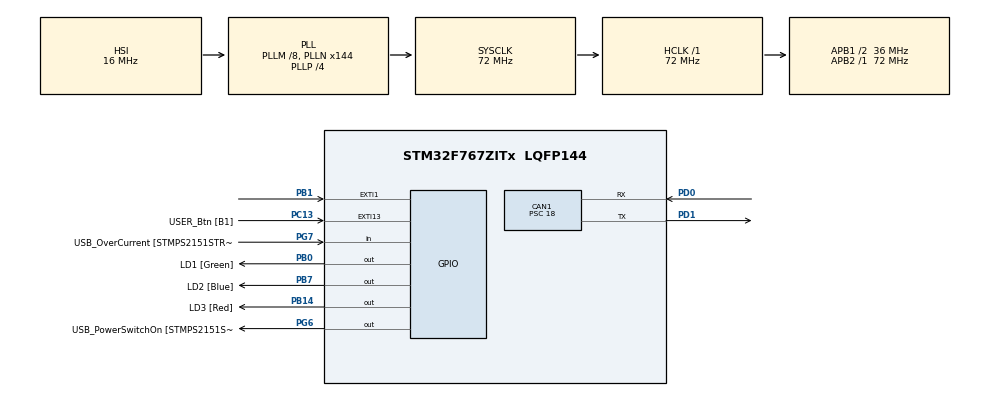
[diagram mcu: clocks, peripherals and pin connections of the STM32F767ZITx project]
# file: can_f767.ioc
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CAN1.BS1=CAN_BS1_2TQ
CAN1.CalculateBaudRate=500000
CAN1.CalculateTimeBit=2000
CAN1.CalculateTimeQuantum=500.0
CAN1.Mode=CAN_MODE_NORMAL
CAN1.Prescaler=18
Mcu.Family=STM32F7
Mcu.Name=STM32F767ZITx
Mcu.Package=LQFP144
NVIC.CAN1_RX0_IRQn=true\:0\:0\:false\:false\:true\:true\:true\:true
NVIC.EXTI15_10_IRQn=true\:0\:0\:false\:false\:true\:true\:true\:true
NVIC.PriorityGroup=NVIC_PRIORITYGROUP_4
PA1.GPIO_Label=RMII_REF_CLK [LAN8742A-CZ-TR_REFCLK0]
PA1.Signal=ETH_REF_CLK
PA10.GPIO_Label=USB_ID
PA10.Signal=USB_OTG_FS_ID
PA11.GPIO_Label=USB_DM
PA11.Signal=USB_OTG_FS_DM
PA12.GPIO_Label=USB_DP
PA12.Signal=USB_OTG_FS_DP
PA13.GPIO_Label=TMS
PA13.Signal=SYS_JTMS-SWDIO
PA14.GPIO_Label=TCK
PA14.Signal=SYS_JTCK-SWCLK
PA2.GPIO_Label=RMII_MDIO [LAN8742A-CZ-TR_MDIO]
PA2.Signal=ETH_MDIO
PA7.GPIO_Label=RMII_CRS_DV [LAN8742A-CZ-TR_CRS_DV]
PA7.Signal=ETH_CRS_DV
PA9.GPIO_Label=USB_VBUS
PA9.Signal=USB_OTG_FS_VBUS
PB0.GPIO_Label=LD1 [Green]
PB0.Signal=GPIO_Output
PB1.Signal=GPXTI1
PB13.GPIO_Label=RMII_TXD1 [LAN8742A-CZ-TR_TXD1]
PB13.Signal=ETH_TXD1
PB14.GPIO_Label=LD3 [Red]
PB14.Signal=GPIO_Output
PB3.GPIO_Label=SW0
PB3.Signal=SYS_JTDO-SWO
PB7.GPIO_Label=LD2 [Blue]
PB7.Signal=GPIO_Output
PC1.GPIO_Label=RMII_MDC [LAN8742A-CZ-TR_MDC]
PC1.Signal=ETH_MDC
PC13.GPIO_Label=USER_Btn [B1]
PC13.Signal=GPXTI13
PC14/OSC32_IN.Signal=RCC_OSC32_IN
PC15/OSC32_OUT.Signal=RCC_OSC32_OUT
PC4.GPIO_Label=RMII_RXD0 [LAN8742A-CZ-TR_RXD0]
PC4.Signal=ETH_RXD0
PC5.GPIO_Label=RMII_RXD1 [LAN8742A-CZ-TR_RXD1]
PC5.Signal=ETH_RXD1
PD0.Mode=CAN_Activate
PD0.Signal=CAN1_RX
PD1.Mode=CAN_Activate
PD1.Signal=CAN1_TX
PD8.GPIO_Label=STLK_RX [STM32F103CBT6_PA3]
PD8.Signal=USART3_TX
PD9.GPIO_Label=STLK_TX [STM32F103CBT6_PA2]
PD9.Signal=USART3_RX
PG11.GPIO_Label=RMII_TX_EN [LAN8742A-CZ-TR_TXEN]
PG11.Signal=ETH_TX_EN
PG13.GPIO_Label=RMII_TXD0 [LAN8742A-CZ-TR_TXD0]
PG13.Signal=ETH_TXD0
PG6.GPIO_Label=USB_PowerSwitchOn [STMPS2151STR_EN]
PG6.Signal=GPIO_Output
PG7.GPIO_Label=USB_OverCurrent [STMPS2151STR_FAULT]
PG7.Signal=GPIO_Input
PH0/OSC_IN.GPIO_Label=MCO [STM32F103CBT6_PA8]
PH0/OSC_IN.Mode=HSE-External-Oscillator
PH0/OSC_IN.Signal=RCC_OSC_IN
PH1/OSC_OUT.Mode=HSE-External-Oscillator
PH1/OSC_OUT.Signal=RCC_OSC_OUT
ProjectManager.HeapSize=0x200
ProjectManager.StackSize=0x400
ProjectManager.TargetToolchain=STM32CubeIDE
RCC.48MHZClocksFreq_Value=24000000
RCC.AHBFreq_Value=72000000
RCC.APB1CLKDivider=RCC_HCLK_DIV2
RCC.APB1Freq_Value=36000000
RCC.APB1TimFreq_Value=72000000
RCC.APB2Freq_Value=72000000
RCC.APB2TimFreq_Value=72000000
RCC.CortexFreq_Value=72000000
RCC.HCLKFreq_Value=72000000
RCC.HSE_VALUE=16000000
RCC.HSI_VALUE=16000000
RCC.LSE_VALUE=32768
RCC.PLLM=8
RCC.PLLMUL=RCC_PLL_MUL9
RCC.PLLN=144
RCC.PLLP=RCC_PLLP_DIV4
RCC.PRESCALERUSB=RCC_USBCLKSOURCE_PLL_DIV1_5
RCC.SYSCLKFreq_VALUE=72000000
RCC.SYSCLKSource=RCC_SYSCLKSOURCE_PLLCLK
RCC.SYSCLKSourceVirtual=RCC_SYSCLKSOURCE_PLLCLK
RCC.USBFreq_Value=144000000
RCC.VCOOutputFreq_Value=288000000
board=NUCLEO-F767ZI

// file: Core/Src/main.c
/* USER CODE BEGIN Header */
/**
  ******************************************************************************
  * @file           : main.c
  * @brief          : Main program body
  ******************************************************************************
  * @attention
  *
  * Copyright (c) 2023 STMicroelectronics.
  * All rights reserved.
  *
  * This software is licensed under terms that can be found in the LICENSE file
  * in the root directory of this software component.
  * If no LICENSE file comes with this software, it is provided AS-IS.
  *
  ******************************************************************************
  */
/* USER CODE END Header */
#include "main.h"

CAN_HandleTypeDef hcan1;

void SystemClock_Config(void);
static void MX_GPIO_Init(void);
static void MX_CAN1_Init(void);

/* USER CODE BEGIN 0 */
CAN_TxHeaderTypeDef TxHeader;
CAN_RxHeaderTypeDef RxHeader;

uint8_t TxData[8];
uint8_t RxData[8];

uint32_t TxMailbox;

int reply_received = 0;

//This callback is for a button press to activate a send for debugging
void HAL_GPIO_EXTI_Callback(uint16_t GPIO_Pin) {

	if (GPIO_Pin == GPIO_PIN_13){
		HAL_GPIO_TogglePin(GPIOB, GPIO_PIN_14);
		HAL_CAN_AddTxMessage(&hcan1, &TxHeader, TxData, &TxMailbox);

	}
}

void HAL_CAN_RxFifo0MsgPendingCallback(CAN_HandleTypeDef *hcan)
{
	HAL_CAN_GetRxMessage(hcan, CAN_RX_FIFO0, &RxHeader, RxData);
	if (RxHeader.DLC == 2)
	{
		reply_received = 1;
		HAL_GPIO_TogglePin(GPIOB, GPIO_PIN_0);

	}
}
/* USER CODE END 0 */

int main(void)
{

  /* MCU Configuration--------------------------------------------------------*/

  /* Reset of all peripherals, Initializes the Flash interface and the Systick. */
  HAL_Init();

  /* Configure the system clock */
  SystemClock_Config();

  /* Initialize all configured peripherals */
  MX_GPIO_Init();
  MX_CAN1_Init();
  /* USER CODE BEGIN 2 */

  HAL_CAN_Start(&hcan1);
  HAL_CAN_ActivateNotification(&hcan1, CAN_IT_RX_FIFO0_MSG_PENDING);

  TxHeader.DLC = 2;  // data length
  TxHeader.IDE = CAN_ID_STD; //Use standard ID, not extended
  TxHeader.RTR = CAN_RTR_DATA;
  TxHeader.StdId = 0x123;  // ID

  TxData[0] = 100;
  TxData[1] = 3;

  /* USER CODE END 2 */

  /* Infinite loop */
  /* USER CODE BEGIN WHILE */
  while (1)
  {

	//Flip between transmitting as 123 and 432

	if(TxHeader.StdId == 0x123){
		TxHeader.StdId = 0x321;
	} else {
		TxHeader.StdId = 0x123;
	}

    HAL_Delay(2000);
	HAL_GPIO_WritePin(GPIOB, GPIO_PIN_14, GPIO_PIN_SET);
	HAL_CAN_AddTxMessage(&hcan1, &TxHeader, TxData, &TxMailbox);
	HAL_Delay(50);
	HAL_GPIO_WritePin(GPIOB, GPIO_PIN_14, GPIO_PIN_RESET);

    /* USER CODE END WHILE */

  }
}

void SystemClock_Config(void)
{
  RCC_OscInitTypeDef RCC_OscInitStruct = {0};
  RCC_ClkInitTypeDef RCC_ClkInitStruct = {0};

  /** Configure the main internal regulator output voltage
  */
  __HAL_RCC_PWR_CLK_ENABLE();
  __HAL_PWR_VOLTAGESCALING_CONFIG(PWR_REGULATOR_VOLTAGE_SCALE3);

  /** Initializes the RCC Oscillators according to the specified parameters
  * in the RCC_OscInitTypeDef structure.
  */
  RCC_OscInitStruct.OscillatorType = RCC_OSCILLATORTYPE_HSI;
  RCC_OscInitStruct.HSIState = RCC_HSI_ON;
  RCC_OscInitStruct.HSICalibrationValue = RCC_HSICALIBRATION_DEFAULT;
  RCC_OscInitStruct.PLL.PLLState = RCC_PLL_ON;
  RCC_OscInitStruct.PLL.PLLSource = RCC_PLLSOURCE_HSI;
  RCC_OscInitStruct.PLL.PLLM = 8;
  RCC_OscInitStruct.PLL.PLLN = 144;
  RCC_OscInitStruct.PLL.PLLP = RCC_PLLP_DIV4;
  RCC_OscInitStruct.PLL.PLLQ = 2;
  RCC_OscInitStruct.PLL.PLLR = 2;
  if (HAL_RCC_OscConfig(&RCC_OscInitStruct) != HAL_OK)
  {
    Error_Handler();
  }

  /** Initializes the CPU, AHB and APB buses clocks
  */
  RCC_ClkInitStruct.ClockType = RCC_CLOCKTYPE_HCLK|RCC_CLOCKTYPE_SYSCLK
                              |RCC_CLOCKTYPE_PCLK1|RCC_CLOCKTYPE_PCLK2;
  RCC_ClkInitStruct.SYSCLKSource = RCC_SYSCLKSOURCE_PLLCLK;
  RCC_ClkInitStruct.AHBCLKDivider = RCC_SYSCLK_DIV1;
  RCC_ClkInitStruct.APB1CLKDivider = RCC_HCLK_DIV2;
  RCC_ClkInitStruct.APB2CLKDivider = RCC_HCLK_DIV1;

  if (HAL_RCC_ClockConfig(&RCC_ClkInitStruct, FLASH_LATENCY_2) != HAL_OK)
  {
    Error_Handler();
  }
}

static void MX_CAN1_Init(void)
{

  hcan1.Instance = CAN1;
  hcan1.Init.Prescaler = 18;
  hcan1.Init.Mode = CAN_MODE_NORMAL;
  hcan1.Init.SyncJumpWidth = CAN_SJW_1TQ;
  hcan1.Init.TimeSeg1 = CAN_BS1_2TQ;
  hcan1.Init.TimeSeg2 = CAN_BS2_1TQ;
  hcan1.Init.TimeTriggeredMode = DISABLE;
  hcan1.Init.AutoBusOff = DISABLE;
  hcan1.Init.AutoWakeUp = DISABLE;
  hcan1.Init.AutoRetransmission = DISABLE;
  hcan1.Init.ReceiveFifoLocked = DISABLE;
  hcan1.Init.TransmitFifoPriority = DISABLE;
  if (HAL_CAN_Init(&hcan1) != HAL_OK)
  {
    Error_Handler();
  }
  /* USER CODE BEGIN CAN1_Init 2 */

  //First can filter is for the bluepill board
  CAN_FilterTypeDef canfilterconfig1;
  canfilterconfig1.FilterActivation = CAN_FILTER_ENABLE;
  canfilterconfig1.FilterBank = 18;  // Use filter bank 18 of the 20 allocated
  canfilterconfig1.FilterFIFOAssignment = CAN_FILTER_FIFO0;
  canfilterconfig1.FilterIdHigh = 0x103<<5;
  canfilterconfig1.FilterIdLow = 0;
  canfilterconfig1.FilterMaskIdHigh = 0x103<<5;
  canfilterconfig1.FilterMaskIdLow = 0x0000;
  canfilterconfig1.FilterMode = CAN_FILTERMODE_IDMASK;
  canfilterconfig1.FilterScale = CAN_FILTERSCALE_32BIT;
  canfilterconfig1.SlaveStartFilterBank = 20;  // Allocate first 20 filter banks for CAN0
  HAL_CAN_ConfigFilter(&hcan1, &canfilterconfig1);

  //Second can filter is for the KW45 board
  CAN_FilterTypeDef canfilterconfig2;
  canfilterconfig2.FilterActivation = CAN_FILTER_ENABLE;
  canfilterconfig2.FilterBank = 19;  // Use filter bank 19 of the 20 allocated
  canfilterconfig2.FilterFIFOAssignment = CAN_FILTER_FIFO0;
  canfilterconfig2.FilterIdHigh = 0x45<<5;
  canfilterconfig2.FilterIdLow = 0;
  canfilterconfig2.FilterMaskIdHigh = 0x45<<5;
  canfilterconfig2.FilterMaskIdLow = 0x0000;
  canfilterconfig2.FilterMode = CAN_FILTERMODE_IDMASK;
  canfilterconfig2.FilterScale = CAN_FILTERSCALE_32BIT;
  canfilterconfig2.SlaveStartFilterBank = 20;  // Allocate first 20 filter banks for CAN0
  HAL_CAN_ConfigFilter(&hcan1, &canfilterconfig2);

  /* USER CODE END CAN1_Init 2 */

}

static void MX_GPIO_Init(void)
{
  GPIO_InitTypeDef GPIO_InitStruct = {0};

  /* GPIO Ports Clock Enable */
  __HAL_RCC_GPIOC_CLK_ENABLE();
  __HAL_RCC_GPIOH_CLK_ENABLE();
  __HAL_RCC_GPIOA_CLK_ENABLE();
  __HAL_RCC_GPIOB_CLK_ENABLE();
  __HAL_RCC_GPIOD_CLK_ENABLE();
  __HAL_RCC_GPIOG_CLK_ENABLE();

  /*Configure GPIO pin Output Level */
  HAL_GPIO_WritePin(GPIOB, LD1_Pin|LD3_Pin|LD2_Pin, GPIO_PIN_RESET);

  /*Configure GPIO pin Output Level */
  HAL_GPIO_WritePin(USB_PowerSwitchOn_GPIO_Port, USB_PowerSwitchOn_Pin, GPIO_PIN_RESET);

  /*Configure GPIO pin : USER_Btn_Pin */
  GPIO_InitStruct.Pin = USER_Btn_Pin;
  GPIO_InitStruct.Mode = GPIO_MODE_IT_RISING;
  GPIO_InitStruct.Pull = GPIO_NOPULL;
  HAL_GPIO_Init(USER_Btn_GPIO_Port, &GPIO_InitStruct);

  /*Configure GPIO pins : RMII_MDC_Pin RMII_RXD0_Pin RMII_RXD1_Pin */
  GPIO_InitStruct.Pin = RMII_MDC_Pin|RMII_RXD0_Pin|RMII_RXD1_Pin;
  GPIO_InitStruct.Mode = GPIO_MODE_AF_PP;
  GPIO_InitStruct.Pull = GPIO_NOPULL;
  GPIO_InitStruct.Speed = GPIO_SPEED_FREQ_VERY_HIGH;
  GPIO_InitStruct.Alternate = GPIO_AF11_ETH;
  HAL_GPIO_Init(GPIOC, &GPIO_InitStruct);

  /*Configure GPIO pins : RMII_REF_CLK_Pin RMII_MDIO_Pin RMII_CRS_DV_Pin */
  GPIO_InitStruct.Pin = RMII_REF_CLK_Pin|RMII_MDIO_Pin|RMII_CRS_DV_Pin;
  GPIO_InitStruct.Mode = GPIO_MODE_AF_PP;
  GPIO_InitStruct.Pull = GPIO_NOPULL;
  GPIO_InitStruct.Speed = GPIO_SPEED_FREQ_VERY_HIGH;
  GPIO_InitStruct.Alternate = GPIO_AF11_ETH;
  HAL_GPIO_Init(GPIOA, &GPIO_InitStruct);

  /*Configure GPIO pins : LD1_Pin LD3_Pin LD2_Pin */
  GPIO_InitStruct.Pin = LD1_Pin|LD3_Pin|LD2_Pin;
  GPIO_InitStruct.Mode = GPIO_MODE_OUTPUT_PP;
  GPIO_InitStruct.Pull = GPIO_NOPULL;
  GPIO_InitStruct.Speed = GPIO_SPEED_FREQ_LOW;
  HAL_GPIO_Init(GPIOB, &GPIO_InitStruct);

  /*Configure GPIO pin : PB1 */
  GPIO_InitStruct.Pin = GPIO_PIN_1;
  GPIO_InitStruct.Mode = GPIO_MODE_IT_RISING;
  GPIO_InitStruct.Pull = GPIO_NOPULL;
  HAL_GPIO_Init(GPIOB, &GPIO_InitStruct);

  /*Configure GPIO pin : RMII_TXD1_Pin */
  GPIO_InitStruct.Pin = RMII_TXD1_Pin;
  GPIO_InitStruct.Mode = GPIO_MODE_AF_PP;
  GPIO_InitStruct.Pull = GPIO_NOPULL;
  GPIO_InitStruct.Speed = GPIO_SPEED_FREQ_VERY_HIGH;
  GPIO_InitStruct.Alternate = GPIO_AF11_ETH;
  HAL_GPIO_Init(RMII_TXD1_GPIO_Port, &GPIO_InitStruct);

  /*Configure GPIO pins : STLK_RX_Pin STLK_TX_Pin */
  GPIO_InitStruct.Pin = STLK_RX_Pin|STLK_TX_Pin;
  GPIO_InitStruct.Mode = GPIO_MODE_AF_PP;
  GPIO_InitStruct.Pull = GPIO_NOPULL;
  GPIO_InitStruct.Speed = GPIO_SPEED_FREQ_VERY_HIGH;
  GPIO_InitStruct.Alternate = GPIO_AF7_USART3;
  HAL_GPIO_Init(GPIOD, &GPIO_InitStruct);

  /*Configure GPIO pin : USB_PowerSwitchOn_Pin */
  GPIO_InitStruct.Pin = USB_PowerSwitchOn_Pin;
  GPIO_InitStruct.Mode = GPIO_MODE_OUTPUT_PP;
  GPIO_InitStruct.Pull = GPIO_NOPULL;
  GPIO_InitStruct.Speed = GPIO_SPEED_FREQ_LOW;
  HAL_GPIO_Init(USB_PowerSwitchOn_GPIO_Port, &GPIO_InitStruct);

  /*Configure GPIO pin : USB_OverCurrent_Pin */
  GPIO_InitStruct.Pin = USB_OverCurrent_Pin;
  GPIO_InitStruct.Mode = GPIO_MODE_INPUT;
  GPIO_InitStruct.Pull = GPIO_NOPULL;
  HAL_GPIO_Init(USB_OverCurrent_GPIO_Port, &GPIO_InitStruct);

  /*Configure GPIO pin : USB_VBUS_Pin */
  GPIO_InitStruct.Pin = USB_VBUS_Pin;
  GPIO_InitStruct.Mode = GPIO_MODE_INPUT;
  GPIO_InitStruct.Pull = GPIO_NOPULL;
  HAL_GPIO_Init(USB_VBUS_GPIO_Port, &GPIO_InitStruct);

  /*Configure GPIO pins : USB_ID_Pin USB_DM_Pin USB_DP_Pin */
  GPIO_InitStruct.Pin = USB_ID_Pin|USB_DM_Pin|USB_DP_Pin;
  GPIO_InitStruct.Mode = GPIO_MODE_AF_PP;
  GPIO_InitStruct.Pull = GPIO_NOPULL;
  GPIO_InitStruct.Speed = GPIO_SPEED_FREQ_VERY_HIGH;
  GPIO_InitStruct.Alternate = GPIO_AF10_OTG_FS;
  HAL_GPIO_Init(GPIOA, &GPIO_InitStruct);

  /*Configure GPIO pins : RMII_TX_EN_Pin RMII_TXD0_Pin */
  GPIO_InitStruct.Pin = RMII_TX_EN_Pin|RMII_TXD0_Pin;
  GPIO_InitStruct.Mode = GPIO_MODE_AF_PP;
  GPIO_InitStruct.Pull = GPIO_NOPULL;
  GPIO_InitStruct.Speed = GPIO_SPEED_FREQ_VERY_HIGH;
  GPIO_InitStruct.Alternate = GPIO_AF11_ETH;
  HAL_GPIO_Init(GPIOG, &GPIO_InitStruct);

  /* EXTI interrupt init*/
  HAL_NVIC_SetPriority(EXTI15_10_IRQn, 0, 0);
  HAL_NVIC_EnableIRQ(EXTI15_10_IRQn);

}

void Error_Handler(void)
{
  __disable_irq();
  while (1)
  {
  }
}
